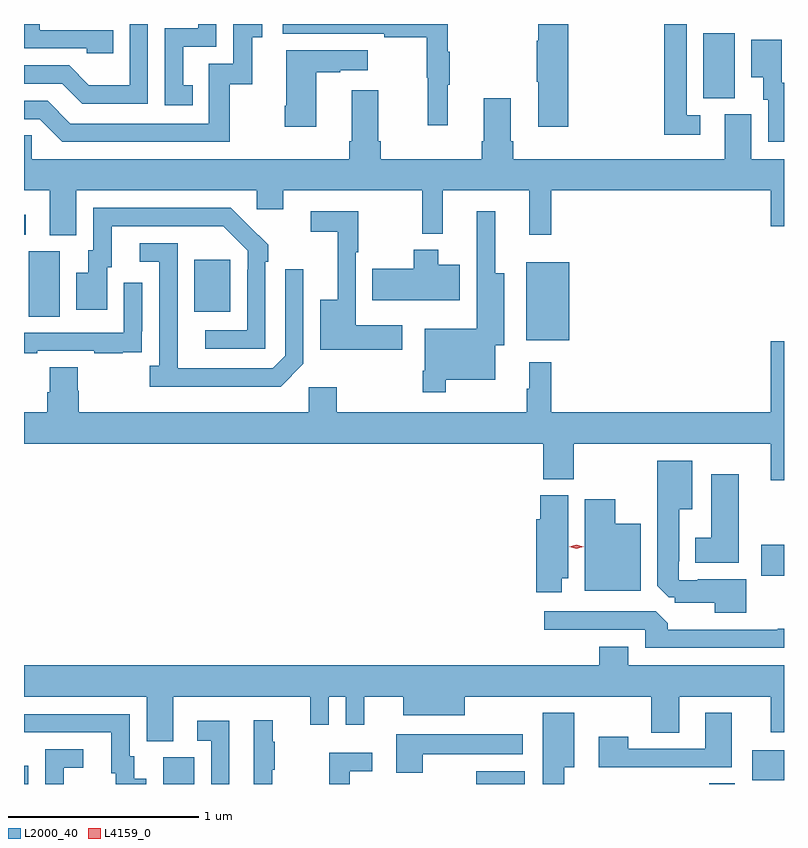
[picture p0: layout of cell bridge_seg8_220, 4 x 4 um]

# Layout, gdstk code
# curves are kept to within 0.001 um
import gdstk
lib = gdstk.Library(unit=1e-6, precision=1e-09)
def R(c, l, rs):  # rectangles x0, y0, x1, y1
    for r in rs: c.add(gdstk.rectangle(r[:2], r[2:], *l))
def P(c, l, *ps):  # polygons
    for p in ps: c.add(gdstk.Polygon(p, *l))
L2000_40 = (2000, 40)
L4159_0 = (4159, 0)

bridge_seg8_220 = lib.new_cell('bridge_seg8_220')
R(bridge_seg8_220, L2000_40, [(137.102,1120.036,137.125,1120.132), (137.834,1120.036,137.998,1120.176), (139.481,1120.036,139.738,1120.102), (140.708,1120.036,140.842,1120.04), (140.934,1120.055,141.102,1120.213), (140.982,1121.132,141.102,1121.295), (139.745,1122.371,139.972,1122.781), (137.126,1122.496,137.29,1122.84), (137.999,1122.521,138.187,1122.796), (137.102,1122.927,137.11,1123.033), (140.678,1123.645,140.842,1123.988)])
P(bridge_seg8_220, L2000_40, [(139.967,1124.036),(139.808,1124.036),(139.808,1123.949),(139.801,1123.949),(139.801,1123.732),(139.808,1123.732),(139.808,1123.494),(139.967,1123.494)],
  [(140.662,1123.557),(140.589,1123.557),(140.589,1124.036),(140.473,1124.036),(140.473,1123.452),(140.662,1123.452)],
  [(139.331,1123.715),(139.342,1123.715),(139.342,1123.889),(139.331,1123.889),(139.331,1124.036),(138.465,1124.036),(138.465,1123.986),(138.997,1123.986),(138.997,1123.966),(139.221,1123.966),(139.221,1123.752),(139.228,1123.752),(139.228,1123.503),(139.331,1123.503)],
  [(137.573,1124.004),(137.184,1124.004),(137.184,1124.036),(137.102,1124.036),(137.102,1123.908),(137.433,1123.908),(137.433,1123.881),(137.573,1123.881)],
  [(138.184,1123.719),(138.302,1123.719),(138.302,1123.965),(138.355,1123.965),(138.355,1124.036),(138.204,1124.036),(138.204,1123.827),(138.075,1123.827),(138.075,1123.512),(137.346,1123.512),(137.226,1123.632),(137.102,1123.632),(137.102,1123.536),(137.184,1123.536),(137.304,1123.416),(138.184,1123.416)],
  [(137.99,1123.713),(137.941,1123.713),(137.941,1123.917),(138.114,1123.917),(138.114,1124.036),(138.018,1124.036),(138.018,1124.013),(137.844,1124.013),(137.844,1123.608),(137.99,1123.608)],
  [(137.754,1124.036),(137.658,1124.036),(137.658,1123.714),(137.444,1123.714),(137.34,1123.818),(137.102,1123.818),(137.102,1123.722),(137.303,1123.722),(137.408,1123.617),(137.754,1123.617)],
  [(141.102,1123.728),(141.091,1123.728),(141.091,1123.954),(140.93,1123.954),(140.93,1123.757),(140.993,1123.757),(140.993,1123.638),(141.018,1123.638),(141.018,1123.416),(141.102,1123.416)],
  [(138.64,1123.783),(138.767,1123.783),(138.767,1123.793),(138.91,1123.793),(138.91,1123.897),(138.482,1123.897),(138.482,1123.606),(138.475,1123.606),(138.475,1123.494),(138.64,1123.494)],
  [(137.377,1123.16),(138.327,1123.16),(138.327,1123.062),(138.466,1123.062),(138.466,1123.16),(139.197,1123.16),(139.197,1122.932),(139.307,1122.932),(139.307,1123.16),(139.76,1123.16),(139.76,1122.927),(139.877,1122.927),(139.877,1123.16),(141.032,1123.16),(141.032,1122.972),(141.102,1122.972),(141.102,1123.324),(140.929,1123.324),(140.929,1123.56),(140.789,1123.56),(140.789,1123.324),(139.676,1123.324),(139.676,1123.42),(139.663,1123.42),(139.663,1123.645),(139.523,1123.645),(139.523,1123.42),(139.511,1123.42),(139.511,1123.324),(138.98,1123.324),(138.98,1123.42),(138.967,1123.42),(138.967,1123.687),(138.827,1123.687),(138.827,1123.42),(138.815,1123.42),(138.815,1123.324),(137.142,1123.324),(137.142,1123.451),(137.102,1123.451),(137.102,1123.16),(137.237,1123.16),(137.237,1122.925),(137.377,1122.925)],
  [(138.372,1122.785),(138.387,1122.785),(138.387,1122.873),(138.19,1123.068),(137.466,1123.068),(137.466,1122.846),(137.441,1122.846),(137.441,1122.727),(137.378,1122.727),(137.378,1122.531),(137.539,1122.531),(137.539,1122.756),(137.563,1122.756),(137.563,1122.972),(138.151,1122.972),(138.279,1122.843),(138.279,1122.743),(138.276,1122.743),(138.276,1122.423),(138.057,1122.423),(138.057,1122.327),(138.372,1122.327)],
  [(139.321,1122.164),(139.582,1122.164),(139.582,1122.344),(139.63,1122.344),(139.63,1122.724),(139.583,1122.724),(139.583,1123.051),(139.484,1123.051),(139.484,1122.82),(139.485,1122.82),(139.485,1122.433),(139.212,1122.433),(139.212,1122.211),(139.2,1122.211),(139.2,1122.099),(139.321,1122.099)],
  [(139.093,1122.451),(138.849,1122.451),(138.849,1122.835),(138.862,1122.835),(138.862,1123.05),(138.612,1123.05),(138.612,1122.942),(138.752,1122.942),(138.752,1122.586),(138.662,1122.586),(138.662,1122.322),(139.093,1122.322)],
  [(138.573,1122.249),(138.573,1122.745),(138.477,1122.745),(138.477,1122.291),(138.411,1122.225),(137.911,1122.225),(137.91,1122.882),(137.712,1122.882),(137.712,1122.786),(137.814,1122.786),(137.814,1122.238),(137.763,1122.238),(137.763,1122.128),(138.452,1122.128)],
  [(139.396,1122.769),(139.282,1122.769),(139.282,1122.847),(139.153,1122.847),(139.153,1122.747),(138.936,1122.747),(138.936,1122.581),(139.396,1122.581)],
  [(137.173,1122.315),(137.473,1122.315),(137.473,1122.303),(137.621,1122.303),(137.621,1122.309),(137.723,1122.309),(137.723,1122.418),(137.724,1122.418),(137.724,1122.673),(137.628,1122.673),(137.628,1122.411),(137.102,1122.411),(137.102,1122.303),(137.173,1122.303)],
  [(141.102,1122.367),(141.032,1122.367),(141.032,1121.992),(139.877,1121.992),(139.877,1122.256),(139.76,1122.256),(139.76,1122.116),(139.749,1122.116),(139.749,1121.992),(138.747,1121.992),(138.747,1122.124),(138.6,1122.124),(138.6,1121.992),(137.39,1121.992),(137.39,1122.105),(137.385,1122.105),(137.385,1122.23),(137.237,1122.23),(137.237,1122.098),(137.225,1122.098),(137.225,1121.992),(137.102,1121.992),(137.102,1121.828),(139.835,1121.828),(139.835,1121.641),(139.995,1121.641),(139.995,1121.828),(141.032,1121.828),(141.032,1121.634),(141.102,1121.634)],
  [(140.902,1121.113),(140.647,1121.113),(140.647,1121.109),(140.547,1121.109),(140.547,1121.209),(140.551,1121.209),(140.551,1121.483),(140.62,1121.483),(140.62,1121.737),(140.435,1121.737),(140.435,1121.079),(140.495,1121.019),(140.526,1121.019),(140.526,1120.991),(140.738,1120.991),(140.738,1120.937),(140.902,1120.937)],
  [(140.863,1121.665),(140.72,1121.665),(140.72,1121.332),(140.636,1121.332),(140.636,1121.201),(140.863,1121.201)],
  [(139.933,1121.12),(139.966,1121.12),(139.966,1121.556),(139.82,1121.556),(139.82,1121.43),(139.799,1121.43),(139.799,1121.046),(139.933,1121.046)],
  [(140.347,1121.407),(140.215,1121.407),(140.215,1121.536),(140.054,1121.536),(140.054,1121.054),(140.347,1121.054)],
  [(141.102,1120.853),(141.068,1120.853),(141.068,1120.848),(140.489,1120.848),(140.489,1120.882),(140.427,1120.944),(139.839,1120.944),(139.839,1120.848),(140.373,1120.848),(140.373,1120.752),(141.102,1120.752)],
  [(137.887,1120.496),(138.608,1120.496),(138.608,1120.347),(138.705,1120.347),(138.705,1120.496),(138.795,1120.496),(138.795,1120.347),(138.893,1120.347),(138.893,1120.496),(139.097,1120.496),(139.097,1120.397),(139.423,1120.397),(139.423,1120.496),(140.404,1120.496),(140.404,1120.306),(140.551,1120.306),(140.551,1120.496),(141.032,1120.496),(141.032,1120.308),(141.102,1120.308),(141.102,1120.66),(140.281,1120.66),(140.281,1120.759),(140.129,1120.759),(140.129,1120.66),(137.102,1120.66),(137.102,1120.496),(137.747,1120.496),(137.747,1120.261),(137.887,1120.261)],
  [(140.827,1120.411),(140.687,1120.411),(140.687,1120.221),(140.283,1120.221),(140.283,1120.285),(140.127,1120.285),(140.127,1120.125),(140.827,1120.125)],
  [(139.945,1120.124),(139.999,1120.124),(139.999,1120.411),(139.832,1120.411),(139.832,1120.036),(139.945,1120.036)],
  [(137.746,1120.063),(137.683,1120.063),(137.683,1120.182),(137.658,1120.182),(137.658,1120.404),(137.102,1120.404),(137.102,1120.308),(137.561,1120.308),(137.561,1120.092),(137.585,1120.092),(137.585,1120.036),(137.746,1120.036)],
  [(138.408,1120.111),(138.421,1120.111),(138.421,1120.259),(138.41,1120.259),(138.41,1120.372),(138.312,1120.372),(138.312,1120.036),(138.408,1120.036)],
  [(138.183,1120.369),(138.015,1120.369),(138.015,1120.263),(138.087,1120.263),(138.087,1120.036),(138.183,1120.036)],
  [(139.201,1120.193),(139.726,1120.193),(139.726,1120.297),(139.061,1120.297),(139.061,1120.095),(139.201,1120.095)],
  [(137.31,1120.122),(137.413,1120.122),(137.413,1120.218),(137.214,1120.218),(137.214,1120.036),(137.31,1120.036)],
  [(138.816,1120.104),(138.934,1120.104),(138.934,1120.201),(138.708,1120.201),(138.708,1120.036),(138.816,1120.036)])
P(bridge_seg8_220, L4159_0, [(140.009,1121.275),(139.972,1121.284),(139.971,1121.285),(139.972,1121.285),(140.009,1121.294),(140.047,1121.285),(140.047,1121.284),(140.047,1121.284)])

lib.write_gds('bridge_seg8_220.gds')
